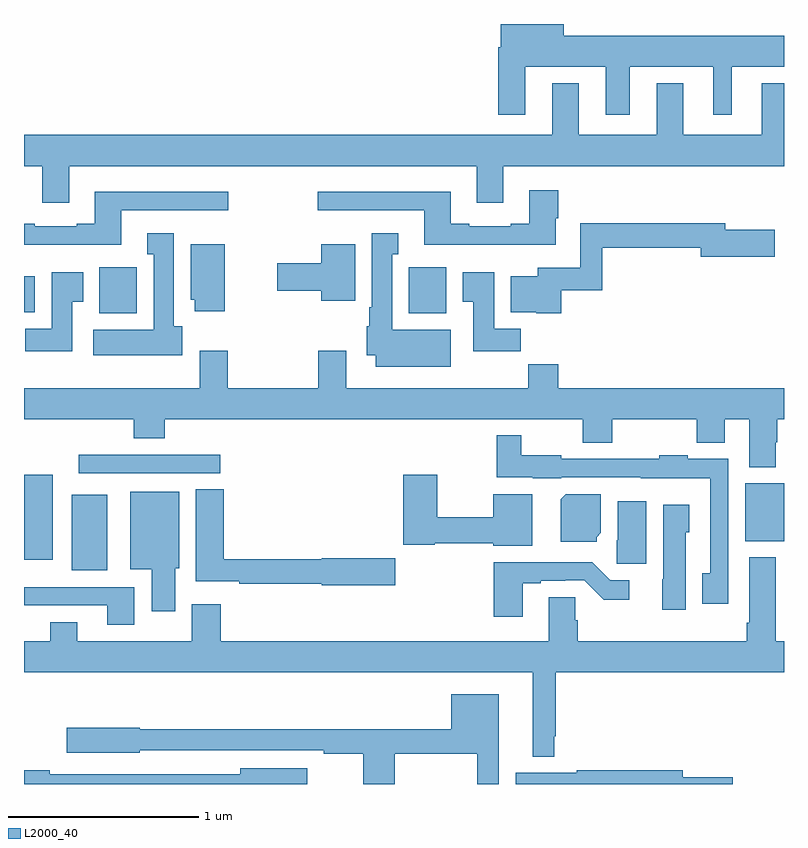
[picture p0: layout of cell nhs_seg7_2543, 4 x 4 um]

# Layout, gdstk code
import gdstk
lib = gdstk.Library(unit=1e-6, precision=1e-09)
def R(c, l, rs):  # rectangles x0, y0, x1, y1
    for r in rs: c.add(gdstk.rectangle(r[:2], r[2:], *l))
def P(c, l, *ps):  # polygons
    for p in ps: c.add(gdstk.Polygon(p, *l))
L2000_40 = (2000, 40)

nhs_seg7_2543 = lib.new_cell('nhs_seg7_2543')
R(nhs_seg7_2543, L2000_40, [(277.25,1029.125,277.438,1029.523), (277,1029.18,277.15,1029.628), (280.796,1029.278,281,1029.583), (277.287,1029.636,278.032,1029.732), (277.397,1030.478,277.594,1030.72), (279.026,1030.478,279.223,1030.72), (277,1030.484,277.057,1030.672)])
P(nhs_seg7_2543, L2000_40, [(279.637,1031.774),(280.061,1031.774),(280.061,1031.523),(280.189,1031.523),(280.189,1031.774),(280.628,1031.774),(280.628,1031.523),(280.726,1031.523),(280.726,1031.774),(281,1031.774),(281,1031.938),(279.841,1031.938),(279.841,1032),(279.509,1032),(279.509,1031.878),(279.497,1031.878),(279.497,1031.523),(279.637,1031.523)],
  [(277.237,1031.252),(279.383,1031.252),(279.383,1031.058),(279.523,1031.058),(279.523,1031.252),(281,1031.252),(281,1031.689),(280.883,1031.689),(280.883,1031.416),(280.471,1031.416),(280.471,1031.689),(280.331,1031.689),(280.331,1031.416),(279.919,1031.416),(279.919,1031.689),(279.779,1031.689),(279.779,1031.416),(277,1031.416),(277,1031.252),(277.097,1031.252),(277.097,1031.058),(277.237,1031.058)],
  [(279.799,1030.977),(279.812,1030.977),(279.812,1031.125),(279.659,1031.125),(279.659,1030.948),(279.563,1030.948),(279.563,1030.935),(279.343,1030.935),(279.343,1030.948),(279.247,1030.948),(279.247,1031.116),(278.547,1031.116),(278.547,1031.019),(279.107,1031.019),(279.107,1030.838),(279.799,1030.838)],
  [(277.513,1031.019),(278.074,1031.019),(278.074,1031.116),(277.373,1031.116),(277.373,1030.948),(277.277,1030.948),(277.277,1030.935),(277.057,1030.935),(277.057,1030.948),(277,1030.948),(277,1030.838),(277.513,1030.838)],
  [(279.827,1030.6),(280.043,1030.6),(280.043,1030.822),(280.562,1030.822),(280.562,1030.775),(280.951,1030.775),(280.951,1030.917),(280.69,1030.917),(280.69,1030.951),(279.927,1030.951),(279.927,1030.716),(279.704,1030.716),(279.704,1030.672),(279.563,1030.672),(279.563,1030.484),(279.696,1030.484),(279.696,1030.478),(279.827,1030.478)],
  [(279.247,1030.39),(278.938,1030.39),(278.938,1030.787),(278.971,1030.787),(278.971,1030.9),(278.831,1030.9),(278.831,1030.51),(278.816,1030.51),(278.816,1030.41),(278.804,1030.41),(278.804,1030.256),(278.852,1030.256),(278.852,1030.196),(279.247,1030.196)],
  [(277.834,1030.41),(277.789,1030.41),(277.789,1030.9),(277.649,1030.9),(277.649,1030.787),(277.682,1030.787),(277.682,1030.39),(277.365,1030.39),(277.365,1030.256),(277.834,1030.256)],
  [(278.056,1030.84),(277.877,1030.84),(277.877,1030.548),(277.898,1030.548),(277.898,1030.488),(278.056,1030.488)],
  [(278.743,1030.84),(278.564,1030.84),(278.564,1030.742),(278.334,1030.742),(278.334,1030.595),(278.564,1030.595),(278.564,1030.544),(278.743,1030.544)],
  [(279.614,1030.396),(279.475,1030.396),(279.475,1030.693),(279.308,1030.693),(279.308,1030.537),(279.365,1030.537),(279.365,1030.278),(279.614,1030.278)],
  [(277.255,1030.537),(277.312,1030.537),(277.312,1030.693),(277.145,1030.693),(277.145,1030.396),(277.006,1030.396),(277.006,1030.278),(277.255,1030.278)],
  [(280.957,1029.8),(280.965,1029.8),(280.965,1029.92),(281,1029.92),(281,1030.084),(279.812,1030.084),(279.812,1030.208),(279.655,1030.208),(279.655,1030.084),(278.695,1030.084),(278.695,1030.279),(278.548,1030.279),(278.548,1030.084),(278.073,1030.084),(278.073,1030.279),(277.925,1030.279),(277.925,1030.084),(277,1030.084),(277,1029.92),(277.577,1029.92),(277.577,1029.821),(277.742,1029.821),(277.742,1029.92),(279.94,1029.92),(279.94,1029.796),(280.095,1029.796),(280.095,1029.92),(280.54,1029.92),(280.54,1029.796),(280.687,1029.796),(280.687,1029.92),(280.817,1029.92),(280.817,1029.668),(280.957,1029.668)],
  [(280.707,1029.711),(280.494,1029.711),(280.494,1029.729),(280.344,1029.729),(280.344,1029.711),(279.828,1029.711),(279.828,1029.73),(279.616,1029.73),(279.616,1029.835),(279.487,1029.835),(279.487,1029.614),(279.678,1029.614),(279.678,1029.608),(279.828,1029.608),(279.828,1029.615),(280.245,1029.615),(280.245,1029.608),(280.611,1029.608),(280.611,1029.11),(280.571,1029.11),(280.571,1028.949),(280.707,1028.949)],
  [(279.676,1029.526),(279.47,1029.526),(279.47,1029.404),(279.174,1029.404),(279.174,1029.628),(278.996,1029.628),(278.996,1029.26),(279.162,1029.26),(279.162,1029.268),(279.47,1029.268),(279.47,1029.254),(279.676,1029.254)],
  [(278.953,1029.188),(278.568,1029.188),(278.568,1029.182),(278.051,1029.182),(278.051,1029.551),(277.904,1029.551),(277.904,1029.066),(278.134,1029.066),(278.134,1029.054),(278.568,1029.054),(278.568,1029.046),(278.953,1029.046)],
  [(277.795,1029.135),(277.816,1029.135),(277.816,1029.538),(277.559,1029.538),(277.559,1029.131),(277.673,1029.131),(277.673,1028.91),(277.795,1028.91)],
  [(280.014,1029.3),(280.036,1029.322),(280.036,1029.526),(279.85,1029.526),(279.824,1029.5),(279.824,1029.275),(280.014,1029.275)],
  [(280.276,1029.487),(280.124,1029.487),(280.124,1029.282),(280.12,1029.282),(280.12,1029.159),(280.276,1029.159)],
  [(280.483,1029.324),(280.501,1029.324),(280.501,1029.469),(280.364,1029.469),(280.364,1029.078),(280.358,1029.078),(280.358,1028.916),(280.483,1028.916)],
  [(279.792,1028.251),(279.799,1028.251),(279.799,1028.588),(281,1028.588),(281,1028.752),(280.957,1028.752),(280.957,1029.193),(280.817,1029.193),(280.817,1028.848),(280.805,1028.848),(280.805,1028.752),(279.914,1028.752),(279.914,1028.862),(279.9,1028.862),(279.9,1028.984),(279.761,1028.984),(279.761,1028.752),(278.036,1028.752),(278.036,1028.947),(277.883,1028.947),(277.883,1028.752),(277.279,1028.752),(277.279,1028.851),(277.139,1028.851),(277.139,1028.752),(277,1028.752),(277,1028.588),(279.677,1028.588),(279.677,1028.144),(279.792,1028.144)],
  [(279.625,1029.057),(279.721,1029.057),(279.721,1029.069),(279.848,1029.069),(279.848,1029.072),(279.948,1029.072),(280.051,1028.97),(280.186,1028.97),(280.186,1029.072),(280.086,1029.072),(279.992,1029.166),(279.473,1029.166),(279.473,1028.88),(279.625,1028.88)],
  [(277.579,1029.036),(277,1029.036),(277,1028.94),(277.439,1028.94),(277.439,1028.838),(277.579,1028.838)],
  [(278.952,1028.158),(279.385,1028.158),(279.385,1028),(279.499,1028),(279.499,1028.473),(279.248,1028.473),(279.248,1028.287),(277.608,1028.287),(277.608,1028.295),(277.224,1028.295),(277.224,1028.165),(277.608,1028.165),(277.608,1028.178),(278.578,1028.178),(278.578,1028.158),(278.786,1028.158),(278.786,1028),(278.952,1028)],
  [(278.491,1028.083),(278.138,1028.083),(278.138,1028.052),(277.136,1028.052),(277.136,1028.072),(277,1028.072),(277,1028),(278.491,1028)],
  [(280.729,1028.036),(280.468,1028.036),(280.468,1028.072),(279.91,1028.072),(279.91,1028.059),(279.587,1028.059),(279.587,1028),(280.729,1028)])

lib.write_gds('nhs_seg7_2543.gds')
